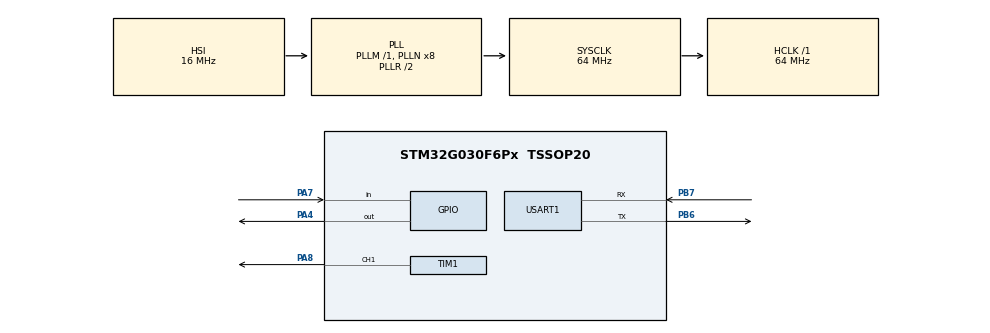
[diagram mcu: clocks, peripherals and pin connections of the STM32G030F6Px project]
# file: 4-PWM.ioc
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Dma.Request0=TIM1_CH1
Dma.TIM1_CH1.0.Direction=DMA_MEMORY_TO_PERIPH
Dma.TIM1_CH1.0.EventEnable=DISABLE
Dma.TIM1_CH1.0.Instance=DMA1_Channel1
Dma.TIM1_CH1.0.MemDataAlignment=DMA_MDATAALIGN_HALFWORD
Dma.TIM1_CH1.0.MemInc=DMA_MINC_ENABLE
Dma.TIM1_CH1.0.Mode=DMA_CIRCULAR
Dma.TIM1_CH1.0.PeriphDataAlignment=DMA_PDATAALIGN_HALFWORD
Dma.TIM1_CH1.0.PeriphInc=DMA_PINC_DISABLE
Dma.TIM1_CH1.0.Polarity=HAL_DMAMUX_REQ_GEN_RISING
Dma.TIM1_CH1.0.Priority=DMA_PRIORITY_LOW
Dma.TIM1_CH1.0.RequestNumber=1
Dma.TIM1_CH1.0.SignalID=NONE
Dma.TIM1_CH1.0.SyncEnable=DISABLE
Dma.TIM1_CH1.0.SyncPolarity=HAL_DMAMUX_SYNC_NO_EVENT
Dma.TIM1_CH1.0.SyncRequestNumber=1
Dma.TIM1_CH1.0.SyncSignalID=NONE
Mcu.Family=STM32G0
Mcu.Name=STM32G030F6Px
Mcu.Package=TSSOP20
NVIC.DMA1_Channel1_IRQn=true\:0\:0\:false\:false\:true\:false\:true\:true
NVIC.TIM14_IRQn=true\:0\:0\:false\:false\:true\:true\:true\:true
NVIC.USART1_IRQn=true\:1\:0\:true\:false\:true\:true\:true\:true
PA13.Mode=Serial_Wire
PA13.Signal=SYS_SWDIO
PA14-BOOT0.Mode=Serial_Wire
PA14-BOOT0.Signal=SYS_SWCLK
PA14-BOOT0__PA15.StandardMode=true
PA4.Signal=GPIO_Output
PA7.Signal=GPIO_Input
PA8.Signal=S_TIM1_CH1
PB0__PB1__PB2__PA8.StandardMode=true
PB3__PB4__PB5__PB6.StandardMode=true
PB6.Mode=Asynchronous
PB6.Signal=USART1_TX
PB7.Mode=Asynchronous
PB7.Signal=USART1_RX
PB7__PB8.StandardMode=true
PC14-OSC32_IN\ (PC14)__PB9.StandardMode=true
ProjectManager.HeapSize=0x200
ProjectManager.StackSize=0x400
ProjectManager.TargetToolchain=MDK-ARM V5.32
RCC.ADCFreq_Value=64000000
RCC.AHBFreq_Value=64000000
RCC.CortexFreq_Value=64000000
RCC.EXTERNAL_CLOCK_VALUE=12288000
RCC.HCLKFreq_Value=64000000
RCC.HSE_VALUE=8000000
RCC.HSI_VALUE=16000000
RCC.LSE_VALUE=32768
RCC.SYSCLKFreq_VALUE=64000000
RCC.SYSCLKSource=RCC_SYSCLKSOURCE_PLLCLK
RCC.VCOOutputFreq_Value=128000000
SH.S_TIM1_CH1.0=TIM1_CH1,PWM Generation1 CH1
TIM1.Channel-PWM\ Generation1\ CH1=TIM_CHANNEL_1
TIM1.Period=80-1
TIM14.Period=319
TIM14.Prescaler=9999
USART1.VirtualMode-Asynchronous=VM_ASYNC
VP_TIM14_VS_ClockSourceINT.Mode=Enable_Timer
board=custom

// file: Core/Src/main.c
/* USER CODE BEGIN Header */
/**
  ******************************************************************************
  * @file           : main.c
  * @brief          : Main program body
  ******************************************************************************
  * @attention
  *
  * Copyright (c) 2023 STMicroelectronics.
  * All rights reserved.
  *
  * This software is licensed under terms that can be found in the LICENSE file
  * in the root directory of this software component.
  * If no LICENSE file comes with this software, it is provided AS-IS.
  *
  ******************************************************************************
  */
/* USER CODE END Header */
#include "main.h"
#include "dma.h"
#include "tim.h"
#include "usart.h"
#include "gpio.h"

/* USER CODE BEGIN Includes */

#include ".\WS2812B\ws2812b.h"

/* USER CODE END Includes */

/* USER CODE BEGIN PD */
uint8_t led_mode=1;

/* USER CODE END PD */

void SystemClock_Config(void);

/* USER CODE BEGIN 0 */
uint8_t KEY_Scan(uint8_t mode);

/* USER CODE END 0 */

int main(void)
{

  /* MCU Configuration--------------------------------------------------------*/

  /* Reset of all peripherals, Initializes the Flash interface and the Systick. */
  HAL_Init();

  /* Configure the system clock */
  SystemClock_Config();

  /* Initialize all configured peripherals */
  MX_GPIO_Init();
  MX_DMA_Init();
  MX_USART1_UART_Init();
  MX_TIM1_Init();
  MX_TIM14_Init();
  /* USER CODE BEGIN 2 */
  HAL_GPIO_WritePin(GPIOA,GPIO_PIN_4,GPIO_PIN_RESET);   //PA4对应引脚低
	/*

		按下KEY改变灯光状态

	*/
  /* USER CODE END 2 */

  /* Infinite loop */
  while (1)
  {
    /* USER CODE BEGIN 3 */
		switch(led_mode%10){
			case 1:
				rainbow(100);
				break;

			case 2:
				rgb_show(1, RED);
				break;

			case 3:
				rgb_show(1, ORANGE);
				break;

			case 4:
				rgb_show(1, YELLOW);
				break;

			case 5:
				rgb_show(1, GREEN);
				break;

			case 6:
				rgb_show(1, CYAN);
				break;

			case 7:
				rgb_show(1, BLUE);
				break;

			case 8:
				rgb_show(1, PURPLE);
				break;

			case 9:
				rgb_show(1, WHITE);
				break;

			case 0:
				rgb_show(1, MAGENTA);
				break;

		}
  }
  /* USER CODE END 3 */
}
void SystemClock_Config(void)
{
  RCC_OscInitTypeDef RCC_OscInitStruct = {0};
  RCC_ClkInitTypeDef RCC_ClkInitStruct = {0};

  /** Configure the main internal regulator output voltage
  */
  HAL_PWREx_ControlVoltageScaling(PWR_REGULATOR_VOLTAGE_SCALE1);

  /** Initializes the RCC Oscillators according to the specified parameters
  * in the RCC_OscInitTypeDef structure.
  */
  RCC_OscInitStruct.OscillatorType = RCC_OSCILLATORTYPE_HSI;
  RCC_OscInitStruct.HSIState = RCC_HSI_ON;
  RCC_OscInitStruct.HSIDiv = RCC_HSI_DIV1;
  RCC_OscInitStruct.HSICalibrationValue = RCC_HSICALIBRATION_DEFAULT;
  RCC_OscInitStruct.PLL.PLLState = RCC_PLL_ON;
  RCC_OscInitStruct.PLL.PLLSource = RCC_PLLSOURCE_HSI;
  RCC_OscInitStruct.PLL.PLLM = RCC_PLLM_DIV1;
  RCC_OscInitStruct.PLL.PLLN = 8;
  RCC_OscInitStruct.PLL.PLLP = RCC_PLLP_DIV2;
  RCC_OscInitStruct.PLL.PLLR = RCC_PLLR_DIV2;
  if (HAL_RCC_OscConfig(&RCC_OscInitStruct) != HAL_OK)
  {
    Error_Handler();
  }

  /** Initializes the CPU, AHB and APB buses clocks
  */
  RCC_ClkInitStruct.ClockType = RCC_CLOCKTYPE_HCLK|RCC_CLOCKTYPE_SYSCLK
                              |RCC_CLOCKTYPE_PCLK1;
  RCC_ClkInitStruct.SYSCLKSource = RCC_SYSCLKSOURCE_PLLCLK;
  RCC_ClkInitStruct.AHBCLKDivider = RCC_SYSCLK_DIV1;
  RCC_ClkInitStruct.APB1CLKDivider = RCC_HCLK_DIV1;

  if (HAL_RCC_ClockConfig(&RCC_ClkInitStruct, FLASH_LATENCY_2) != HAL_OK)
  {
    Error_Handler();
  }
}

/* USER CODE BEGIN 4 */

//按键处理函数
//返回按键值
//mode:0,不支持连续按;1,支持连续按;
//返回值：
//0，没有任何按键按下
//USER_KEY_PRES，USER_KEY按下

uint8_t KEY_Scan(uint8_t mode)
{
	static uint8_t key_up=1;//按键按松开标志
	if(mode)key_up=1;  //支持连按
	if(key_up&&(USER_KEY==0))
	{
		HAL_Delay(10);//去抖动
		key_up=0;
		if(USER_KEY==0)return USER_KEY_PRES;
	}else if(USER_KEY==1)key_up=1;
	return 0;// 无按键按下
}

/* USER CODE END 4 */

void Error_Handler(void)
{
  __disable_irq();
  while (1)
  {
  }
}
